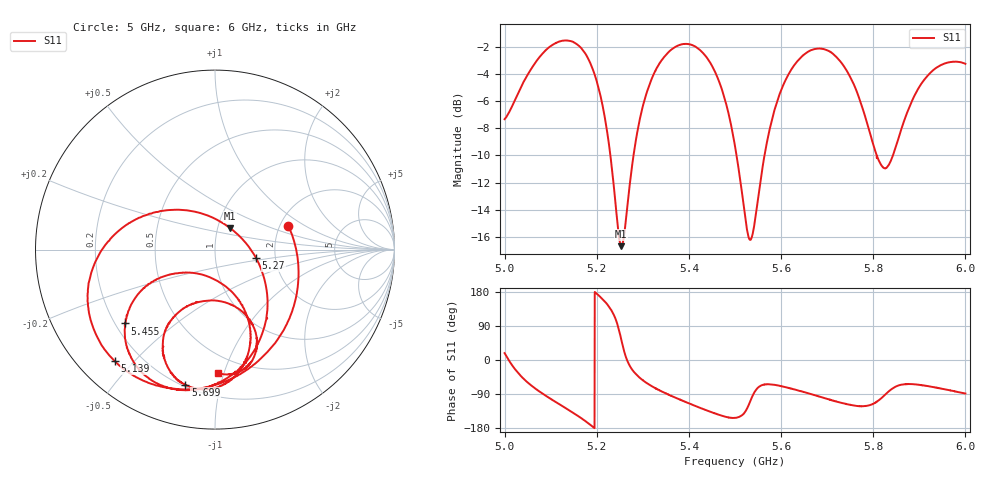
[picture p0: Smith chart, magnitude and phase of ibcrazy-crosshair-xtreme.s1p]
# HZ S RI R 50
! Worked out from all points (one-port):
!   2020 points, 5 GHz to 6 GHz, reference 50 ohm
!   lowest |S11| = -16.7 dB at 5.253 GHz (marker M1), VSWR 1.34, Z = 57.5 + j14 ohm
!   |S11| at or under -10 dB: 5.23 GHz to 5.28 GHz (50.28 MHz wide, 0.957 % of centre); 5.503 GHz to 5.564 GHz (60.73 MHz wide, 1.1 % of centre); 5.807 GHz to 5.843 GHz (35.43 MHz wide, 0.608 % of centre)
!   S11 on the Smith chart (normalised r, x): 5 GHz: 2.22, +0.73; 5.139 GHz: 0.11, -0.44; 5.27 GHz: 1.58, -0.16; 5.455 GHz: 0.24, -0.34; 5.699 GHz: 0.21, -0.78; 6 GHz: 0.37, -0.96
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5e9  0.4083 0.1337
5.029222e9  0.443 -0.2997
5.06637e9  0.1781 -0.6692
5.095592e9  -0.1263 -0.7781
5.12531e9  -0.4376 -0.7119
5.139178e9  -0.5576 -0.6224
5.166419e9  -0.7031 -0.3479
5.189698e9  -0.6641 -0.0629
5.221892e9  -0.3335 0.2073
5.250124e9  0.0528 0.1421
5.253096e9  0.0853 0.119
5.269936e9  0.2287 -0.047
5.310055e9  0.2565 -0.4848
5.340763e9  0.087 -0.7021
5.375434e9  -0.165 -0.7842
5.418524e9  -0.4333 -0.6548
5.455176e9  -0.5024 -0.4113
5.500248e9  -0.3028 -0.1546
5.534423e9  -0.0401 -0.1496
5.579e9  0.1813 -0.3788
5.625062e9  0.1566 -0.6473
5.6632e9  0.00845 -0.768
5.699357e9  -0.1654 -0.753
5.750372e9  -0.2873 -0.541
5.822685e9  -0.0257 -0.2834
5.875186e9  0.2035 -0.4141
5.941556e9  0.1826 -0.6462
6.000001e9  0.0184 -0.6865
